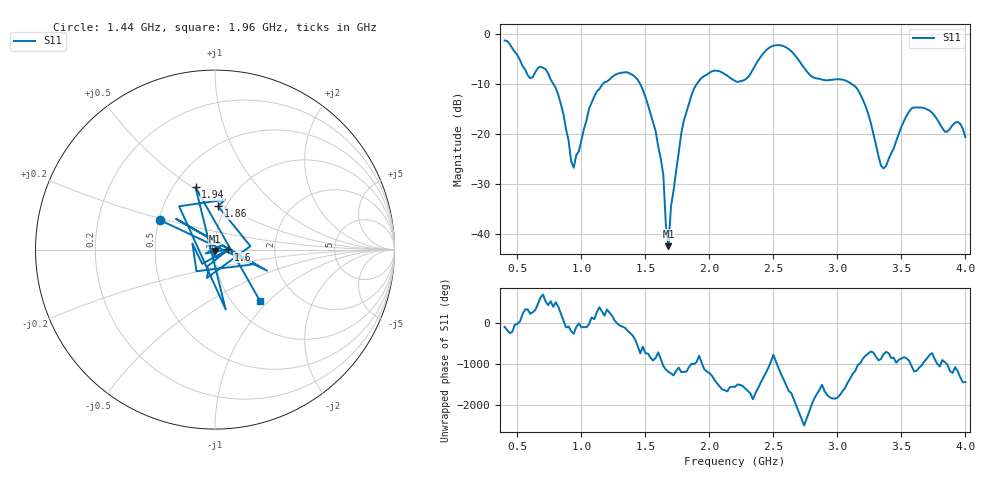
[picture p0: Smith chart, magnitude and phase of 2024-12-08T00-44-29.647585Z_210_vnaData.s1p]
!Created with skrf (http://scikit-rf.org).
# Hz S RI R 50.0
!freq ReS11 ImS11
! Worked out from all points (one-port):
!   181 points, 400 MHz to 4 GHz, reference 50 ohm
!   lowest |S11| = -42.4 dB at 1.68 GHz (marker M1), VSWR 1.02, Z = 49.8 - j0.72 ohm
!   |S11| at or under -10 dB: 779.6 MHz to 1.169 GHz (389.1 MHz wide, 39.9 % of centre); 1.458 GHz to 1.902 GHz (444.3 MHz wide, 26.4 % of centre); 3.109 GHz to end of sweep
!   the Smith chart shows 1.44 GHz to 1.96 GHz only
!   S11 on the Smith chart (normalised r, x): 1.44 GHz: 0.51, +0.19; 1.6 GHz: 1.16, +0.00; 1.86 GHz: 0.92, +0.47; 1.94 GHz: 0.64, +0.51; 1.96 GHz: 1.33, -0.88
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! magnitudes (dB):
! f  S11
! 400 MHz  -1.4
! 600 MHz  -8.9
! 720 MHz  -7.1
! 860 MHz  -16.1
! 940 MHz  -26.7
! 1.1 GHz  -12.6
! 1.3 GHz  -7.9
! 1.44 GHz  -9.2
! 1.6 GHz  -22.5
! 1.64 GHz  -28.2
! 1.66 GHz  -38.2
! 1.68 GHz  -42.4
! 1.7 GHz  -34.4
! 1.76 GHz  -23.8
! 1.86 GHz  -12.3
! 1.94 GHz  -8.8
! 1.96 GHz  -8.4
! 2.2 GHz  -9.4
! 2.48 GHz  -2.6
! 2.66 GHz  -4.1
! 2.8 GHz  -8.6
! 3.1 GHz  -9.8
! 3.22 GHz  -14.5
! 3.36 GHz  -26.9
! 3.56 GHz  -15.6
! 3.84 GHz  -19.6
! 3.94 GHz  -17.6
! 4 GHz  -20.6
